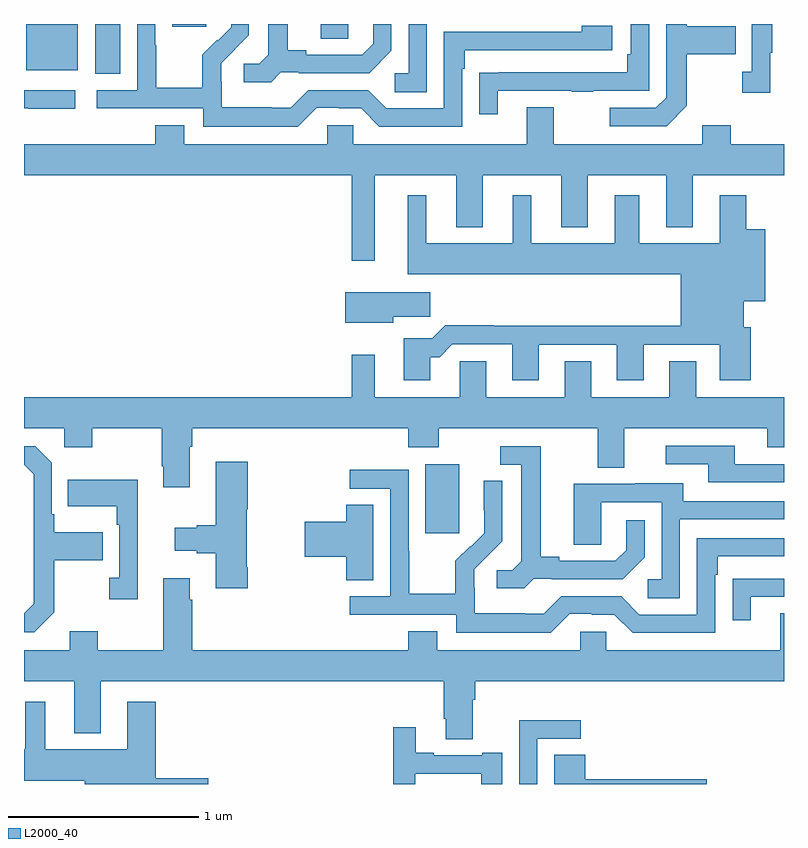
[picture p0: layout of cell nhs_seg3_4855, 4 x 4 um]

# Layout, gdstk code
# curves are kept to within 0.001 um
import gdstk
lib = gdstk.Library(unit=1e-6, precision=1e-09)
def R(c, l, rs):  # rectangles x0, y0, x1, y1
    for r in rs: c.add(gdstk.rectangle(r[:2], r[2:], *l))
def P(c, l, *ps):  # polygons
    for p in ps: c.add(gdstk.Polygon(p, *l))
L2000_40 = (2000, 40)

nhs_seg3_4855 = lib.new_cell('nhs_seg3_4855')
R(nhs_seg3_4855, L2000_40, [(375.113,677.721,375.292,678.082), (373.376,680.137,373.507,680.4), (373.013,680.156,373.282,680.4), (374.561,680.323,374.706,680.4), (373.781,680.385,373.96,680.4)])
P(nhs_seg3_4855, L2000_40, [(374.352,680.145),(374.446,680.145),(374.446,680.142),(374.818,680.142),(374.934,680.258),(374.934,680.4),(374.837,680.4),(374.837,680.295),(374.78,680.238),(374.485,680.238),(374.485,680.261),(374.389,680.261),(374.389,680.4),(374.285,680.4),(374.285,680.237),(374.238,680.19),(374.157,680.19),(374.157,680.093),(374.3,680.093)],
  [(375.493,680.049),(375.883,680.049),(375.883,680.044),(375.995,680.044),(375.995,680.049),(376.29,680.049),(376.29,680.4),(376.194,680.4),(376.194,680.242),(376.174,680.242),(376.174,680.145),(375.499,680.145),(375.499,680.144),(375.397,680.144),(375.397,679.926),(375.493,679.926)],
  [(376.489,679.969),(376.489,680.242),(376.745,680.242),(376.745,680.389),(376.489,680.389),(376.489,680.4),(376.38,680.4),(376.38,680.013),(376.326,679.959),(376.083,679.959),(376.083,679.863),(376.383,679.863)],
  [(375.12,680.4),(375.024,680.4),(375.024,680.142),(374.952,680.142),(374.952,680.041),(375.12,680.041)],
  [(376.927,680.249),(376.939,680.249),(376.939,680.4),(376.83,680.4),(376.83,680.15),(376.779,680.15),(376.779,680.037),(376.927,680.037)],
  [(374.541,679.959),(374.657,679.959),(374.657,679.956),(374.775,679.956),(374.871,679.86),(375.306,679.86),(375.306,680.165),(375.319,680.165),(375.319,680.262),(376.096,680.262),(376.096,680.392),(375.935,680.392),(375.935,680.358),(375.21,680.358),(375.21,679.956),(374.907,679.956),(374.811,680.052),(374.496,680.052),(374.403,679.959),(374.303,679.959),(374.303,679.963),(374.04,679.963),(374.04,680.097),(374.038,680.097),(374.038,680.194),(374.184,680.342),(374.184,680.4),(374.09,680.4),(374.09,680.384),(374.019,680.313),(374.016,680.316),(373.939,680.239),(373.939,680.065),(373.695,680.065),(373.695,680.288),(373.692,680.288),(373.692,680.4),(373.596,680.4),(373.596,680.052),(373.383,680.052),(373.383,679.956),(373.944,679.956),(373.944,679.859),(374.441,679.859)],
  [(373.27,680.052),(373,680.052),(373,679.956),(373.023,679.956),(373.023,679.955),(373.27,679.955)],
  [(374.845,679.604),(375.275,679.604),(375.275,679.331),(375.415,679.331),(375.415,679.604),(375.827,679.604),(375.827,679.331),(375.967,679.331),(375.967,679.604),(376.379,679.604),(376.379,679.331),(376.519,679.331),(376.519,679.604),(377,679.604),(377,679.768),(376.719,679.768),(376.719,679.867),(376.571,679.867),(376.571,679.768),(375.787,679.768),(375.787,679.963),(375.647,679.963),(375.647,679.768),(374.733,679.768),(374.733,679.866),(374.595,679.866),(374.595,679.768),(373.843,679.768),(373.843,679.867),(373.691,679.867),(373.691,679.768),(373,679.768),(373,679.604),(374.724,679.604),(374.724,679.155),(374.845,679.155)],
  [(375.139,678.647),(375.188,678.647),(375.255,678.714),(375.569,678.714),(375.569,678.525),(375.709,678.525),(375.709,678.711),(376.121,678.711),(376.121,678.525),(376.261,678.525),(376.261,678.711),(376.661,678.711),(376.661,678.525),(376.826,678.525),(376.826,678.804),(376.789,678.804),(376.789,678.941),(376.9,678.941),(376.9,679.321),(376.802,679.321),(376.802,679.498),(376.661,679.498),(376.661,679.246),(376.237,679.246),(376.237,679.498),(376.109,679.498),(376.109,679.246),(375.67,679.246),(375.67,679.498),(375.572,679.498),(375.572,679.246),(375.118,679.246),(375.118,679.498),(375.02,679.498),(375.02,679.082),(376.457,679.082),(376.457,678.812),(375.473,678.812),(375.473,678.815),(375.218,678.815),(375.148,678.745),(374.999,678.745),(374.999,678.525),(375.139,678.525)],
  [(374.944,678.859),(375.139,678.859),(375.139,678.988),(374.69,678.988),(374.69,678.827),(374.944,678.827)],
  [(373.873,678.176),(373.886,678.176),(373.886,678.272),(375.023,678.272),(375.023,678.173),(375.183,678.173),(375.183,678.272),(376.019,678.272),(376.019,678.064),(376.159,678.064),(376.159,678.272),(376.913,678.272),(376.913,678.173),(377,678.173),(377,678.436),(376.537,678.436),(376.537,678.626),(376.397,678.626),(376.397,678.436),(375.985,678.436),(375.985,678.626),(375.845,678.626),(375.845,678.436),(375.433,678.436),(375.433,678.626),(375.294,678.626),(375.294,678.436),(374.845,678.436),(374.845,678.658),(374.724,678.658),(374.724,678.436),(373,678.436),(373,678.272),(373.212,678.272),(373.212,678.173),(373.359,678.173),(373.359,678.272),(373.726,678.272),(373.726,678.073),(373.733,678.073),(373.733,677.961),(373.873,677.961)],
  [(377,678.084),(376.741,678.084),(376.741,678.18),(376.377,678.18),(376.377,678.084),(376.601,678.084),(376.601,677.988),(377,677.988)],
  [(373.159,677.305),(373.159,677.578),(373.415,677.578),(373.415,677.725),(373.159,677.725),(373.159,677.821),(373.146,677.821),(373.146,678.09),(373.059,678.177),(373,678.177),(373,678.08),(373.05,678.03),(373.05,677.349),(373,677.299),(373,677.199),(373.053,677.199)],
  [(375.684,677.481),(375.778,677.481),(375.778,677.478),(376.15,677.478),(376.266,677.594),(376.266,677.788),(376.169,677.788),(376.169,677.631),(376.112,677.574),(375.817,677.574),(375.817,677.597),(375.721,677.597),(375.721,678.177),(375.507,678.177),(375.507,678.081),(375.617,678.081),(375.617,677.573),(375.57,677.526),(375.489,677.526),(375.489,677.429),(375.632,677.429)],
  [(374.177,677.542),(374.172,677.542),(374.172,677.845),(374.177,677.845),(374.177,678.097),(374.009,678.097),(374.009,677.762),(373.91,677.762),(373.91,677.749),(373.794,677.749),(373.794,677.627),(373.91,677.627),(373.91,677.615),(374.009,677.615),(374.009,677.43),(374.177,677.43)],
  [(375.873,677.295),(375.989,677.295),(375.989,677.292),(376.107,677.292),(376.203,677.196),(376.638,677.196),(376.638,677.501),(376.651,677.501),(376.651,677.598),(377,677.598),(377,677.694),(376.542,677.694),(376.542,677.292),(376.239,677.292),(376.143,677.388),(375.828,677.388),(375.735,677.295),(375.635,677.295),(375.635,677.299),(375.372,677.299),(375.372,677.433),(375.37,677.433),(375.37,677.53),(375.516,677.678),(375.516,677.996),(375.42,677.996),(375.42,677.842),(375.422,677.842),(375.422,677.72),(375.351,677.649),(375.348,677.652),(375.271,677.575),(375.271,677.401),(375.027,677.401),(375.027,677.624),(375.024,677.624),(375.024,678.054),(374.715,678.054),(374.715,677.955),(374.928,677.955),(374.928,677.388),(374.715,677.388),(374.715,677.292),(375.276,677.292),(375.276,677.195),(375.773,677.195)],
  [(373.598,678.001),(373.231,678.001),(373.231,677.861),(373.488,677.861),(373.488,677.765),(373.5,677.765),(373.5,677.486),(373.449,677.486),(373.449,677.373),(373.598,677.373)],
  [(376.452,677.793),(377,677.793),(377,677.889),(376.471,677.889),(376.471,677.983),(376.217,677.983),(376.217,677.979),(375.893,677.979),(375.893,677.659),(376.038,677.659),(376.038,677.883),(376.356,677.883),(376.356,677.478),(376.284,677.478),(376.284,677.377),(376.452,677.377)],
  [(374.839,677.87),(374.696,677.87),(374.696,677.78),(374.478,677.78),(374.478,677.597),(374.696,677.597),(374.696,677.473),(374.839,677.473)],
  [(375.361,676.844),(375.374,676.844),(375.374,676.94),(377,676.94),(377,677.299),(376.979,677.299),(376.979,677.104),(376.065,677.104),(376.065,677.202),(375.927,677.202),(375.927,677.104),(375.175,677.104),(375.175,677.203),(375.023,677.203),(375.023,677.104),(373.886,677.104),(373.886,677.369),(373.873,677.369),(373.873,677.482),(373.733,677.482),(373.733,677.104),(373.389,677.104),(373.389,677.203),(373.241,677.203),(373.241,677.104),(373,677.104),(373,676.94),(373.265,676.94),(373.265,676.667),(373.405,676.667),(373.405,676.94),(375.209,676.94),(375.209,676.744),(375.221,676.744),(375.221,676.636),(375.361,676.636)],
  [(376.825,677.385),(377,677.385),(377,677.481),(376.831,677.481),(376.831,677.48),(376.729,677.48),(376.729,677.262),(376.825,677.262)],
  [(373.969,676.43),(373.694,676.43),(373.694,676.834),(373.544,676.834),(373.544,676.582),(373.111,676.582),(373.111,676.834),(373.007,676.834),(373.007,676.582),(373,676.582),(373,676.418),(373.319,676.418),(373.319,676.4),(373.969,676.4)],
  [(375.702,676.638),(375.931,676.638),(375.931,676.736),(375.606,676.736),(375.606,676.4),(375.702,676.4)],
  [(375.06,676.455),(375.407,676.455),(375.407,676.4),(375.517,676.4),(375.517,676.564),(375.413,676.564),(375.413,676.551),(375.157,676.551),(375.157,676.564),(375.061,676.564),(375.061,676.699),(374.944,676.699),(374.944,676.4),(375.06,676.4)],
  [(376.594,676.424),(375.953,676.424),(375.953,676.553),(375.791,676.553),(375.791,676.4),(376.594,676.4)])

lib.write_gds('nhs_seg3_4855.gds')
